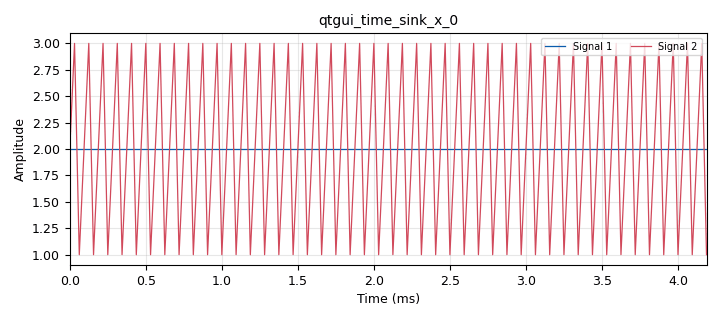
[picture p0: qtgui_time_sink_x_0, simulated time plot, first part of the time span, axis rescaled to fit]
options:
  parameters:
    author: JUAN_TATIANA_WILLIAM
    copyright: UIS
    generate_options: qt_gui
    id: Promedio
    output_language: python
    title: Promedio
  states: {}

blocks:
- name: samp_rate
  id: variable
  parameters:
    value: '32000'
  states: {}
- name: blocks_throttle_0
  id: blocks_throttle
  parameters:
    samples_per_second: samp_rate
    type: float
  states: {}
- name: blocks_vector_source_x_0
  id: blocks_vector_source_x
  parameters:
    repeat: 'True'
    type: float
    vector: (1, 2, 3)
  states: {}
- name: epy_block_0
  id: epy_block
  parameters:
    _source_code: |
      import numpy as np
      from gnuradio import gr

      class blk(gr.sync_block):
      	def __init__( self ) : # only default arguments here
      		gr.sync_block.__init__(
      		self,
      		name ="Promedio", # will show up in GRC
      		in_sig =[np.float32],
      		out_sig =[np.float32]
      		)	
      	def work(self, input_items, output_items ):
      		x = input_items[0] # Senial de entrada .
      		y0 = output_items[0] # Senial acumulada
      		y0 [:] = np.mean (x)
      		return len(y0)
  states: {}
- name: qtgui_time_sink_x_0
  id: qtgui_time_sink_x
  parameters:
    nconnections: '2'
    size: '1024'
    srate: samp_rate
    type: float
  states: {}

connections:
- [blocks_throttle_0, '0', epy_block_0, '0']
- [blocks_throttle_0, '0', qtgui_time_sink_x_0, '1']
- [blocks_vector_source_x_0, '0', blocks_throttle_0, '0']
- [epy_block_0, '0', qtgui_time_sink_x_0, '0']

metadata:
  file_format: 1
  grc_version: 3.9.8.0
